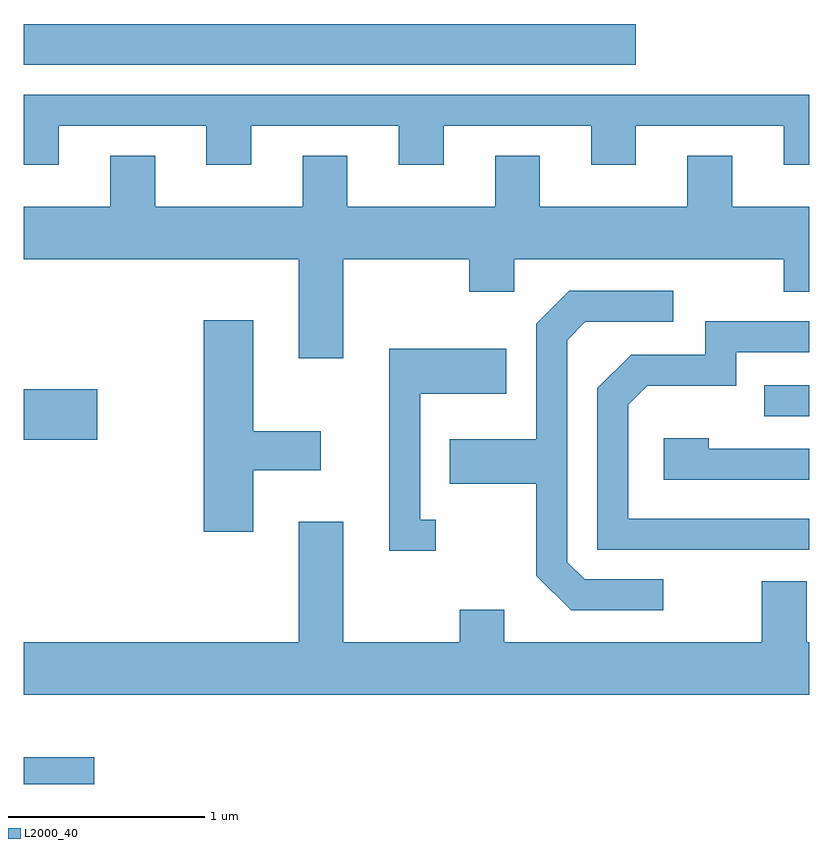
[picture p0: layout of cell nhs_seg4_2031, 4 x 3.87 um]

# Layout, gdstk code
import gdstk
lib = gdstk.Library(unit=1e-6, precision=1e-09)
def R(c, l, rs):  # rectangles x0, y0, x1, y1
    for r in rs: c.add(gdstk.rectangle(r[:2], r[2:], *l))
def P(c, l, *ps):  # polygons
    for p in ps: c.add(gdstk.Polygon(p, *l))
L2000_40 = (2000, 40)

nhs_seg4_2031 = lib.new_cell('nhs_seg4_2031')
R(nhs_seg4_2031, L2000_40, [(243.611,1371.982,243.968,1372.119), (243.611,1373.736,243.984,1373.994), (247.383,1373.856,247.611,1374.014), (243.611,1375.646,246.729,1375.854)])
P(nhs_seg4_2031, L2000_40, [(243.789,1375.336),(244.541,1375.336),(244.541,1375.136),(244.769,1375.136),(244.769,1375.336),(245.521,1375.336),(245.521,1375.136),(245.749,1375.136),(245.749,1375.336),(246.501,1375.336),(246.501,1375.136),(246.729,1375.136),(246.729,1375.336),(247.481,1375.336),(247.481,1375.136),(247.611,1375.136),(247.611,1375.494),(243.611,1375.494),(243.611,1375.136),(243.789,1375.136)],
  [(246.011,1374.924),(245.259,1374.924),(245.259,1375.184),(245.031,1375.184),(245.031,1374.924),(244.279,1374.924),(244.279,1375.184),(244.051,1375.184),(244.051,1374.924),(243.611,1374.924),(243.611,1374.656),(245.011,1374.656),(245.011,1374.151),(245.239,1374.151),(245.239,1374.656),(245.881,1374.656),(245.881,1374.491),(246.109,1374.491),(246.109,1374.656),(247.481,1374.656),(247.481,1374.491),(247.611,1374.491),(247.611,1374.924),(247.219,1374.924),(247.219,1375.184),(246.991,1375.184),(246.991,1374.924),(246.239,1374.924),(246.239,1375.184),(246.011,1375.184)],
  [(246.868,1373.024),(246.467,1373.024),(246.379,1373.112),(246.379,1374.244),(246.472,1374.336),(246.918,1374.336),(246.918,1374.494),(246.389,1374.494),(246.221,1374.327),(246.221,1373.739),(245.781,1373.739),(245.781,1373.511),(246.221,1373.511),(246.221,1373.044),(246.399,1372.866),(246.868,1372.866)],
  [(244.779,1373.581),(245.124,1373.581),(245.124,1373.779),(244.779,1373.779),(244.779,1374.344),(244.526,1374.344),(244.526,1373.266),(244.779,1373.266)],
  [(247.611,1373.334),(246.689,1373.334),(246.689,1373.914),(246.787,1374.011),(247.239,1374.011),(247.239,1374.181),(247.611,1374.181),(247.611,1374.339),(247.081,1374.339),(247.081,1374.169),(246.704,1374.169),(246.531,1373.997),(246.531,1373.176),(247.611,1373.176)],
  [(245.708,1373.329),(245.629,1373.329),(245.629,1373.971),(246.069,1373.971),(246.069,1374.199),(245.471,1374.199),(245.471,1373.171),(245.708,1373.171)],
  [(247.611,1373.689),(247.099,1373.689),(247.099,1373.744),(246.871,1373.744),(246.871,1373.531),(247.611,1373.531)],
  [(247.611,1372.704),(247.599,1372.704),(247.599,1373.014),(247.371,1373.014),(247.371,1372.704),(246.059,1372.704),(246.059,1372.869),(245.831,1372.869),(245.831,1372.704),(245.239,1372.704),(245.239,1373.319),(245.011,1373.319),(245.011,1372.704),(243.611,1372.704),(243.611,1372.436),(247.611,1372.436)])

lib.write_gds('nhs_seg4_2031.gds')
